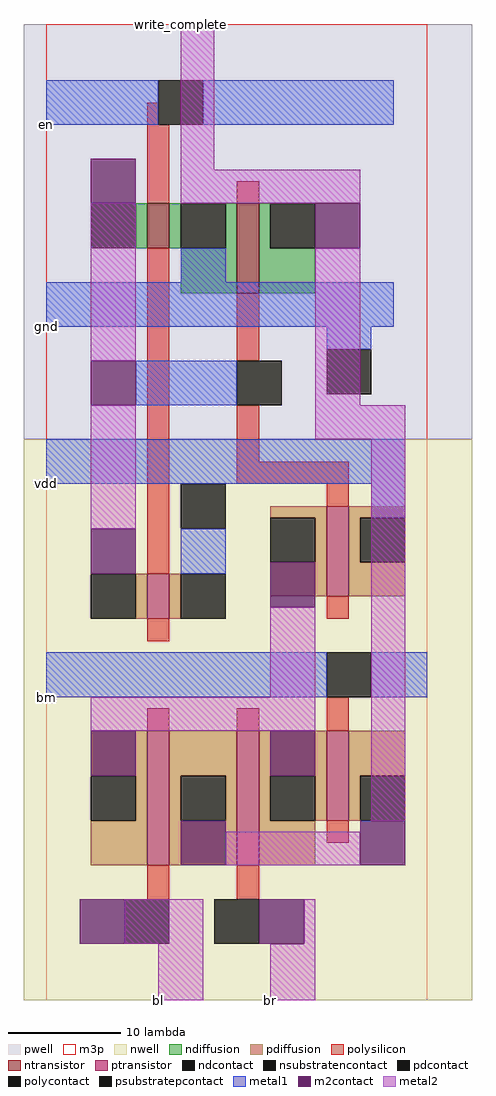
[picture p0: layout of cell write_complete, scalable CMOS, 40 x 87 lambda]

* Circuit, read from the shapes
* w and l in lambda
.subckt write_complete bl bm br en gnd vdd
M1 gnd en n1 gnd nfet w=4 l=2
M2 n2 n1 gnd gnd nfet w=8 l=2
M3 n2 bl n3 vdd pfet w=12 l=2
M4 vdd en n1 vdd pfet w=4 l=2
M5 n3 br n2 vdd pfet w=12 l=2
M6 n2 bm n3 vdd pfet w=8 l=2
M7 vdd n1 n3 vdd pfet w=8 l=2
.ends

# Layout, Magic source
magic
tech scmos
<< nwell >>
rect -2 0 38 50
<< pwell >>
rect -2 50 38 87
<< ntransistor >>
rect 9 67 11 71
rect 17 63 19 71
<< ptransistor >>
rect 9 34 11 38
rect 25 36 27 44
rect 9 12 11 24
rect 17 12 19 24
rect 25 16 27 24
<< ndiffusion >>
rect 8 67 9 71
rect 11 67 12 71
rect 16 67 17 71
rect 12 63 17 67
rect 19 67 20 71
rect 19 63 24 67
<< pdiffusion >>
rect 20 43 25 44
rect 24 39 25 43
rect 8 34 9 38
rect 11 34 12 38
rect 20 36 25 39
rect 27 43 32 44
rect 27 39 28 43
rect 27 36 32 39
rect 4 20 9 24
rect 8 16 9 20
rect 4 12 9 16
rect 11 20 17 24
rect 11 16 12 20
rect 16 16 17 20
rect 11 12 17 16
rect 19 20 25 24
rect 19 16 20 20
rect 24 16 25 20
rect 27 20 32 24
rect 27 16 28 20
rect 19 12 24 16
<< ndcontact >>
rect 4 67 8 71
rect 12 67 16 71
rect 20 67 24 71
<< pdcontact >>
rect 20 39 24 43
rect 4 34 8 38
rect 12 34 16 38
rect 28 39 32 43
rect 4 16 8 20
rect 12 16 16 20
rect 20 16 24 20
rect 28 16 32 20
<< psubstratepcontact >>
rect 25 54 29 58
<< nsubstratencontact >>
rect 12 42 16 46
<< polysilicon >>
rect 9 78 10 80
rect 9 71 11 78
rect 17 71 19 73
rect 9 38 11 67
rect 17 57 19 63
rect 17 48 19 53
rect 17 46 27 48
rect 25 44 27 46
rect 25 34 27 36
rect 9 32 11 34
rect 9 24 11 26
rect 17 24 19 26
rect 25 24 27 27
rect 25 14 27 16
rect 9 9 11 12
rect 17 9 19 12
<< polycontact >>
rect 10 78 14 82
rect 17 53 21 57
rect 25 27 29 31
rect 7 5 11 9
rect 15 5 19 9
<< metal1 >>
rect 0 78 10 82
rect 14 78 31 82
rect 12 64 16 67
rect 0 60 31 64
rect 25 58 29 60
rect 8 53 17 57
rect 0 46 32 50
rect 29 43 32 46
rect 12 38 16 42
rect 0 27 25 31
rect 29 27 34 31
<< m2contact >>
rect 4 71 8 75
rect 24 67 28 71
rect 4 53 8 57
rect 4 38 8 42
rect 20 35 24 39
rect 4 20 8 24
rect 20 20 24 24
rect 12 12 16 16
rect 28 12 32 16
rect 3 5 7 9
rect 19 5 23 9
<< metal2 >>
rect 12 74 15 87
rect 12 71 28 74
rect 4 57 8 71
rect 4 42 8 53
rect 24 53 28 67
rect 24 50 32 53
rect 20 27 24 35
rect 4 24 24 27
rect 29 16 32 50
rect 16 12 28 15
rect 7 5 14 9
rect 23 5 24 9
rect 10 0 14 5
rect 20 0 24 5
<< m3p >>
rect 0 0 34 87
<< labels >>
rlabel metal2 10 0 10 0 4 bl
rlabel metal2 20 0 20 0 4 br
rlabel metal1 0 46 0 46 1 vdd
rlabel metal1 0 60 0 60 1 gnd
rlabel metal1 0 27 0 27 3 bm
rlabel metal2 12 87 12 87 4 write_complete
rlabel metal1 0 78 0 78 1 en
<< end >>
